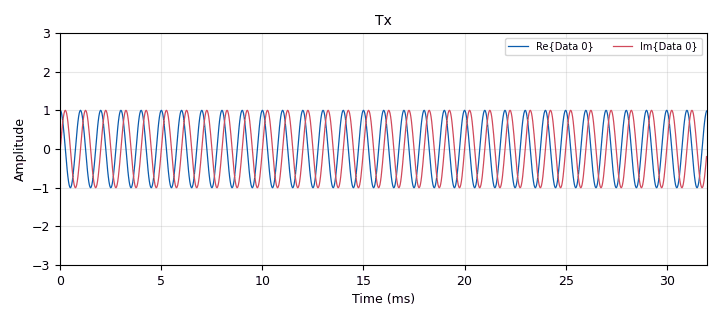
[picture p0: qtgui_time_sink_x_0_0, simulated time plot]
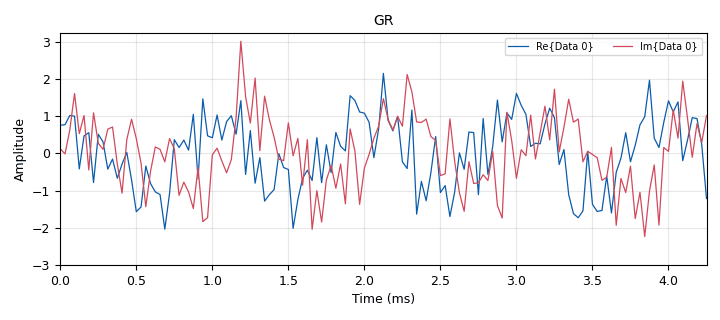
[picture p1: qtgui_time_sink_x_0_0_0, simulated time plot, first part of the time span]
options:
  parameters:
    generate_options: qt_gui
    id: Test_2
    output_language: python
    title: Not titled yet
  states: {}

blocks:
- name: samp_rate
  id: variable
  parameters:
    value: '32000'
  states: {}
- name: ErTools_AWGN_kanal_0
  id: ErTools_AWGN_kanal
  parameters:
    EbN0max: '20'
    EbN0min: '0'
    N: '128'
    R: '1'
    W: '1'
  states: {}
- name: analog_noise_source_x_0
  id: analog_noise_source_x
  parameters:
    amp: '1'
    noise_type: analog.GR_GAUSSIAN
    seed: '5'
    type: complex
  states: {}
- name: analog_sig_source_x_0
  id: analog_sig_source_x
  parameters:
    amp: '1'
    freq: '1000'
    offset: '0'
    phase: '0'
    samp_rate: samp_rate
    type: complex
    waveform: analog.GR_COS_WAVE
  states: {}
- name: blocks_add_xx_0
  id: blocks_add_xx
  parameters:
    type: complex
  states: {}
- name: blocks_add_xx_0_0
  id: blocks_add_xx
  parameters:
    type: complex
  states: {}
- name: blocks_int_to_float_0
  id: blocks_int_to_float
  parameters:
    scale: '1'
  states: {}
- name: blocks_throttle2_0
  id: blocks_throttle2
  parameters:
    samples_per_second: samp_rate
    type: complex
  states: {}
- name: qtgui_histogram_sink_x_0
  id: qtgui_histogram_sink_x
  parameters:
    bins: '1024'
    grid: 'True'
    size: '1024'
    type: float
    xmax: '130'
    xmin: '-1'
  states: {}
- name: qtgui_time_sink_x_0
  id: qtgui_time_sink_x
  parameters:
    grid: 'True'
    name: '"Rx"'
    size: '1024'
    srate: samp_rate
    type: complex
    ymax: '3'
    ymin: '-3'
  states: {}
- name: qtgui_time_sink_x_0_0
  id: qtgui_time_sink_x
  parameters:
    grid: 'True'
    name: '"Tx"'
    size: '1024'
    srate: samp_rate
    type: complex
    ymax: '3'
    ymin: '-3'
  states: {}
- name: qtgui_time_sink_x_0_0_0
  id: qtgui_time_sink_x
  parameters:
    grid: 'True'
    name: '"GR"'
    size: '1024'
    srate: samp_rate
    type: complex
    ymax: '3'
    ymin: '-3'
  states: {}
- name: qtgui_time_sink_x_0_1
  id: qtgui_time_sink_x
  parameters:
    grid: 'True'
    name: '"AWGN"'
    size: '1024'
    srate: samp_rate
    type: complex
    ymax: '3'
    ymin: '-3'
  states: {}

connections:
- [ErTools_AWGN_kanal_0, '0', blocks_add_xx_0, '0']
- [ErTools_AWGN_kanal_0, '0', qtgui_time_sink_x_0_1, '0']
- [ErTools_AWGN_kanal_0, '1', blocks_int_to_float_0, '0']
- [analog_noise_source_x_0, '0', blocks_add_xx_0_0, '1']
- [analog_sig_source_x_0, '0', blocks_throttle2_0, '0']
- [blocks_add_xx_0, '0', qtgui_time_sink_x_0, '0']
- [blocks_add_xx_0_0, '0', qtgui_time_sink_x_0_0_0, '0']
- [blocks_int_to_float_0, '0', qtgui_histogram_sink_x_0, '0']
- [blocks_throttle2_0, '0', ErTools_AWGN_kanal_0, '0']
- [blocks_throttle2_0, '0', blocks_add_xx_0, '1']
- [blocks_throttle2_0, '0', blocks_add_xx_0_0, '0']
- [blocks_throttle2_0, '0', qtgui_time_sink_x_0_0, '0']

metadata:
  file_format: 1
  grc_version: 3.10.9.2
